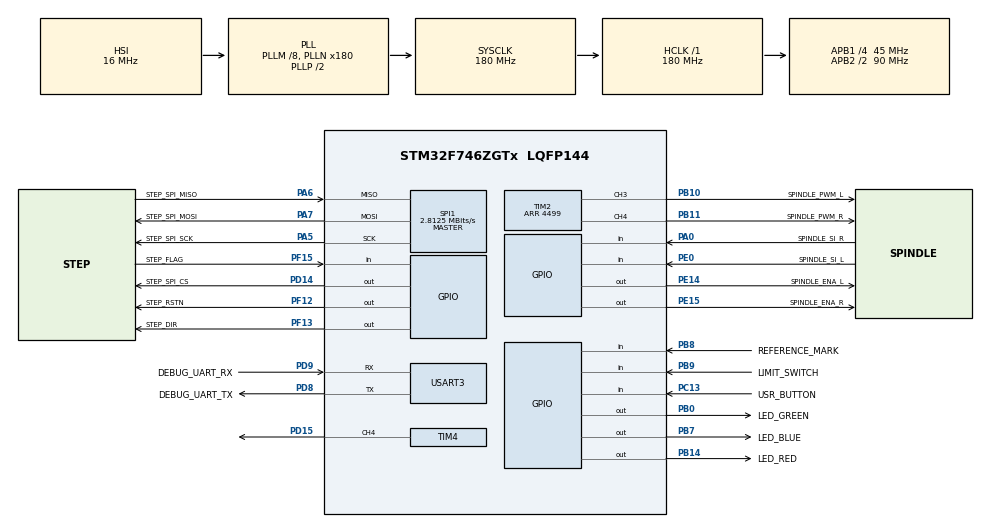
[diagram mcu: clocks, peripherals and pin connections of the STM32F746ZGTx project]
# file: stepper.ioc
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CORTEX_M7.AccessPermission_Spec=MPU_REGION_PRIV_RO_URO
CORTEX_M7.BaseAddress_S-Cortex_Memory_Protection_Unit_Region1_Settings_S=0x60000000
CORTEX_M7.DisableExec_S-Cortex_Memory_Protection_Unit_Region1_Settings_S=MPU_INSTRUCTION_ACCESS_DISABLE
CORTEX_M7.DisableExec_Spec=MPU_INSTRUCTION_ACCESS_ENABLE
CORTEX_M7.Enable_S-Cortex_Memory_Protection_Unit_Region1_Settings_S=MPU_REGION_ENABLE
CORTEX_M7.Enable_S-Cortex_Memory_Protection_Unit_Region2_Settings_S=__NULL
CORTEX_M7.IsShareable_S-Cortex_Memory_Protection_Unit_Region1_Settings_S=MPU_ACCESS_SHAREABLE
CORTEX_M7.IsShareable_Spec=MPU_ACCESS_NOT_SHAREABLE
CORTEX_M7.Size_S-Cortex_Memory_Protection_Unit_Region1_Settings_S=MPU_REGION_SIZE_4GB
CORTEX_M7.Size_Spec=MPU_REGION_SIZE_16KB
CORTEX_M7.SubRegionDisable_S-Cortex_Memory_Protection_Unit_Region1_Settings_S=0x87
CORTEX_M7.SubRegionDisable_Spec=0x0
CORTEX_M7.default_mode_Activation=1
Mcu.Family=STM32F7
Mcu.Name=STM32F746ZGTx
Mcu.Package=LQFP144
NVIC.PriorityGroup=NVIC_PRIORITYGROUP_4
NVIC.SPI1_IRQn=true\:5\:0\:true\:false\:true\:true\:true\:true
NVIC.TIM1_CC_IRQn=true\:5\:0\:true\:false\:true\:true\:true\:true
NVIC.TIM1_UP_TIM10_IRQn=true\:5\:0\:true\:false\:true\:true\:true\:true
NVIC.TIM4_IRQn=true\:0\:0\:false\:false\:true\:true\:true\:true
NVIC.USART3_IRQn=true\:10\:0\:true\:false\:true\:true\:true\:true
PA0/WKUP.GPIO_Label=SPINDLE_SI_R
PA0/WKUP.Signal=GPIO_Input
PA5.GPIO_Label=STEP_SPI_SCK
PA5.Mode=Full_Duplex_Master
PA5.Signal=SPI1_SCK
PA6.GPIO_Label=STEP_SPI_MISO
PA6.Mode=Full_Duplex_Master
PA6.Signal=SPI1_MISO
PA7.GPIO_Label=STEP_SPI_MOSI
PA7.Mode=Full_Duplex_Master
PA7.Signal=SPI1_MOSI
PB0.GPIO_Label=LED_GREEN
PB0.Signal=GPIO_Output
PB10.GPIO_Label=SPINDLE_PWM_L
PB10.Signal=S_TIM2_CH3
PB11.GPIO_Label=SPINDLE_PWM_R
PB11.Signal=S_TIM2_CH4
PB14.GPIO_Label=LED_RED
PB14.Signal=GPIO_Output
PB7.GPIO_Label=LED_BLUE
PB7.Signal=GPIO_Output
PB8.GPIO_Label=REFERENCE_MARK
PB8.Signal=GPIO_Input
PB9.GPIO_Label=LIMIT_SWITCH
PB9.Signal=GPIO_Input
PC13.GPIO_Label=USR_BUTTON
PC13.Signal=GPIO_Input
PD14.GPIO_Label=STEP_SPI_CS
PD14.GPIO_Speed=GPIO_SPEED_FREQ_VERY_HIGH
PD14.PinState=GPIO_PIN_SET
PD14.Signal=GPIO_Output
PD15.Signal=S_TIM4_CH4
PD8.GPIO_Label=DEBUG_UART_TX
PD8.Mode=Asynchronous
PD8.Signal=USART3_TX
PD9.GPIO_Label=DEBUG_UART_RX
PD9.Mode=Asynchronous
PD9.Signal=USART3_RX
PE0.GPIO_Label=SPINDLE_SI_L
PE0.Signal=GPIO_Input
PE14.GPIO_Label=SPINDLE_ENA_L
PE14.Signal=GPIO_Output
PE15.GPIO_Label=SPINDLE_ENA_R
PE15.Signal=GPIO_Output
PF12.GPIO_Label=STEP_RSTN
PF12.Signal=GPIO_Output
PF13.GPIO_Label=STEP_DIR
PF13.GPIO_Speed=GPIO_SPEED_FREQ_VERY_HIGH
PF13.Signal=GPIO_Output
PF15.GPIO_Label=STEP_FLAG
PF15.GPIO_PuPd=GPIO_PULLUP
PF15.Signal=GPIO_Input
ProjectManager.HeapSize=0x2000
ProjectManager.StackSize=0x800
ProjectManager.TargetToolchain=STM32CubeIDE
RCC.AHBFreq_Value=180000000
RCC.APB1CLKDivider=RCC_HCLK_DIV4
RCC.APB1Freq_Value=45000000
RCC.APB1TimFreq_Value=90000000
RCC.APB2CLKDivider=RCC_HCLK_DIV2
RCC.APB2Freq_Value=90000000
RCC.APB2TimFreq_Value=180000000
RCC.CortexFreq_Value=180000000
RCC.HCLKFreq_Value=180000000
RCC.HSE_VALUE=25000000
RCC.HSI_VALUE=16000000
RCC.LSE_VALUE=32768
RCC.PLLM=8
RCC.PLLN=180
RCC.SYSCLKFreq_VALUE=180000000
RCC.SYSCLKSource=RCC_SYSCLKSOURCE_PLLCLK
RCC.USBFreq_Value=180000000
RCC.VCOOutputFreq_Value=360000000
SH.S_TIM2_CH3.0=TIM2_CH3,PWM Generation3 CH3
SH.S_TIM2_CH4.0=TIM2_CH4,PWM Generation4 CH4
SH.S_TIM4_CH4.0=TIM4_CH4,PWM Generation4 CH4
SPI1.BaudRatePrescaler=SPI_BAUDRATEPRESCALER_32
SPI1.CLKPhase=SPI_PHASE_2EDGE
SPI1.CLKPolarity=SPI_POLARITY_HIGH
SPI1.CalculateBaudRate=2.8125 MBits/s
SPI1.DataSize=SPI_DATASIZE_8BIT
SPI1.Direction=SPI_DIRECTION_2LINES
SPI1.Mode=SPI_MODE_MASTER
SPI1.VirtualType=VM_MASTER
TIM1.Channel-Output\ Compare1\ No\ Output=TIM_CHANNEL_1
TIM1.CounterMode=TIM_COUNTERMODE_UP
TIM1.OC1Preload=DISABLE
TIM1.OCMode_1=TIM_OCMODE_TIMING
TIM1.Period=8191
TIM1.TIM_MasterOutputTrigger=TIM_TRGO_ENABLE
TIM1.TIM_MasterOutputTrigger2=TIM_TRGO2_ENABLE
TIM2.Channel-PWM\ Generation3\ CH3=TIM_CHANNEL_3
TIM2.Channel-PWM\ Generation4\ CH4=TIM_CHANNEL_4
TIM2.Period=4499
TIM4.AutoReloadPreload=TIM_AUTORELOAD_PRELOAD_ENABLE
TIM4.Channel-PWM\ Generation4\ CH4=TIM_CHANNEL_4
TIM4.ClockDivision=TIM_CLOCKDIVISION_DIV1
TIM4.Period=62
TIM4.Prescaler=127
TIM4.Pulse-PWM\ Generation4\ CH4=31
TIM4.TIM_MasterOutputTrigger=TIM_TRGO_UPDATE
USART3.VirtualMode-Asynchronous=VM_ASYNC
VP_TIM1_VS_ClockSourceITR.Mode=TriggerSource_ITR3
VP_TIM1_VS_ControllerModeClock.Mode=Clock Mode
VP_TIM1_VS_OPM.Mode=OPM_bit
VP_TIM1_VS_no_output1.Mode=Output Compare1 No Output
VP_TIM2_VS_ClockSourceINT.Mode=Internal
VP_TIM4_VS_ClockSourceINT.Mode=Internal
board=custom

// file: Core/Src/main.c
/* USER CODE BEGIN Header */
/**
  ******************************************************************************
  * @file           : main.c
  * @brief          : Main program body
  ******************************************************************************
  * @attention
  *
  * Copyright (c) 2024 STMicroelectronics.
  * All rights reserved.
  *
  * This software is licensed under terms that can be found in the LICENSE file
  * in the root directory of this software component.
  * If no LICENSE file comes with this software, it is provided AS-IS.
  *
  ******************************************************************************
  */
/* USER CODE END Header */
#include "main.h"

/* USER CODE BEGIN Includes */
/* Standard C headers */
#include <stdio.h>
#include <assert.h>
#include <stdbool.h>

/* FreeRTOS headers */
#include "FreeRTOS.h"
#include "task.h"
// #include "semphr.h"

#include "FreeRTOSConfig.h"
#include "Spindle_implementation/my_spindle.h"
#include "Console_implementation/my_console.h"
#include "Stepper_implementation/my_stepper.h"
#include "LibL6474.h"
#include "LibL6474Config.h"
/* USER CODE END Includes */

SPI_HandleTypeDef hspi1;

TIM_HandleTypeDef htim1;
TIM_HandleTypeDef htim2;
TIM_HandleTypeDef htim4;

UART_HandleTypeDef huart3;

/* USER CODE BEGIN PV */
// Globale Variablen für asynchrone Bewegung
int asyncStepsRemaining = 0;
L6474_Handle_t asyncStepperHandle = NULL;
void (*asyncDoneCallback)(L6474_Handle_t) = NULL;

// globale Variable fuer my_console.c und my_stepper.c
L6474_BaseParameter_t base_parameter;

//Globale Flag für LED-Steuerung
int blueLedBlinking = 0;

// bool variable to show errors
bool error_variable = false;

/* USER CODE END PV */

void SystemClock_Config(void);
static void MPU_Config(void);
static void MX_GPIO_Init(void);
static void MX_SPI1_Init(void);
static void MX_TIM4_Init(void);
static void MX_TIM1_Init(void);
static void MX_USART3_UART_Init(void);
static void MX_TIM2_Init(void);
/* USER CODE BEGIN PFP */
extern void initialise_stdlib_abstraction( void );

void vApplicationMallocFailedHook( void )
{
  taskDISABLE_INTERRUPTS();
  __asm volatile( "bkpt #0" );
  for (;;) {;}
}
/*-----------------------------------------------------------*/

void vApplicationStackOverflowHook( TaskHandle_t pxTask, char *pcTaskName )
{
  ( void ) pcTaskName;
  ( void ) pxTask;

  taskDISABLE_INTERRUPTS();
  __asm volatile( "bkpt #0" );
  for (;;) {;}
}

/* USER CODE END PFP */

/* USER CODE BEGIN 0 */
// --------------------------------------------------------------------------------------------------------------------
/*
static int CapabilityFunc( int argc, char** argv, void* ctx )
// --------------------------------------------------------------------------------------------------------------------
{
	(void)argc;
	(void)argv;
	(void)ctx;
	printf("%d,%d,%d,%d,%d,%d,%d,%d,%d,%d,%d,%d,%d,%d,%d,%d,%d,%d,%d,%d,%d,%d,%d,%d,%d,%d,%d\r\nOK",
	    0, // has spindle
		0, // has spindle status
		0, // has stepper
		0, // has stepper move relative
		0, // has stepper move speed
		0, // has stepper move async
		0, // has stepper status
		0, // has stepper refrun
		0, // has stepper refrun timeout
		0, // has stepper refrun skip
		0, // has stepper refrun stay enabled
		0, // has stepper reset
		0, // has stepper position
		0, // has stepper config
		0, // has stepper config torque
		0, // has stepper config throvercurr
		0, // has stepper config powerena
		0, // has stepper config stepmode
		0, // has stepper config timeoff
		0, // has stepper config timeon
		0, // has stepper config timefast
		0, // has stepper config mmperturn
		0, // has stepper config posmax
		0, // has stepper config posmin
		0, // has stepper config posref
		0, // has stepper config stepsperturn
		0  // has stepper cancel
	);
	return 0;
}
*/

/* USER CODE END 0 */

int main(void)
{

  /* MPU Configuration--------------------------------------------------------*/
  MPU_Config();

  /* MCU Configuration--------------------------------------------------------*/

  /* Reset of all peripherals, Initializes the Flash interface and the Systick. */
  HAL_Init();

  /* Configure the system clock */
  SystemClock_Config();

  /* Initialize all configured peripherals */
  MX_GPIO_Init();
  MX_SPI1_Init();
  MX_TIM4_Init();
  MX_TIM1_Init();
  MX_USART3_UART_Init();
  MX_TIM2_Init();
  /* USER CODE BEGIN 2 */
  L6474_SetBaseParameter(&base_parameter);

  initialise_stdlib_abstraction();
  MyConsole_Init();
  xTaskCreate(vLedBlinkTask, "LED_Task", configMINIMAL_STACK_SIZE, NULL, tskIDLE_PRIORITY + 4, NULL);

  // everything before scheduler
  vTaskStartScheduler();
  /* USER CODE END 2 */

  /* Infinite loop */
  while (1)
  {

  }
}

void SystemClock_Config(void)
{
  RCC_OscInitTypeDef RCC_OscInitStruct = {0};
  RCC_ClkInitTypeDef RCC_ClkInitStruct = {0};

  /** Configure the main internal regulator output voltage
  */
  __HAL_RCC_PWR_CLK_ENABLE();
  __HAL_PWR_VOLTAGESCALING_CONFIG(PWR_REGULATOR_VOLTAGE_SCALE1);

  /** Initializes the RCC Oscillators according to the specified parameters
  * in the RCC_OscInitTypeDef structure.
  */
  RCC_OscInitStruct.OscillatorType = RCC_OSCILLATORTYPE_HSI;
  RCC_OscInitStruct.HSIState = RCC_HSI_ON;
  RCC_OscInitStruct.HSICalibrationValue = RCC_HSICALIBRATION_DEFAULT;
  RCC_OscInitStruct.PLL.PLLState = RCC_PLL_ON;
  RCC_OscInitStruct.PLL.PLLSource = RCC_PLLSOURCE_HSI;
  RCC_OscInitStruct.PLL.PLLM = 8;
  RCC_OscInitStruct.PLL.PLLN = 180;
  RCC_OscInitStruct.PLL.PLLP = RCC_PLLP_DIV2;
  RCC_OscInitStruct.PLL.PLLQ = 2;
  if (HAL_RCC_OscConfig(&RCC_OscInitStruct) != HAL_OK)
  {
    Error_Handler();
  }

  /** Initializes the CPU, AHB and APB buses clocks
  */
  RCC_ClkInitStruct.ClockType = RCC_CLOCKTYPE_HCLK|RCC_CLOCKTYPE_SYSCLK
                              |RCC_CLOCKTYPE_PCLK1|RCC_CLOCKTYPE_PCLK2;
  RCC_ClkInitStruct.SYSCLKSource = RCC_SYSCLKSOURCE_PLLCLK;
  RCC_ClkInitStruct.AHBCLKDivider = RCC_SYSCLK_DIV1;
  RCC_ClkInitStruct.APB1CLKDivider = RCC_HCLK_DIV4;
  RCC_ClkInitStruct.APB2CLKDivider = RCC_HCLK_DIV2;

  if (HAL_RCC_ClockConfig(&RCC_ClkInitStruct, FLASH_LATENCY_5) != HAL_OK)
  {
    Error_Handler();
  }
}

static void MX_SPI1_Init(void)
{

  /* SPI1 parameter configuration*/
  hspi1.Instance = SPI1;
  hspi1.Init.Mode = SPI_MODE_MASTER;
  hspi1.Init.Direction = SPI_DIRECTION_2LINES;
  hspi1.Init.DataSize = SPI_DATASIZE_8BIT;
  hspi1.Init.CLKPolarity = SPI_POLARITY_HIGH;
  hspi1.Init.CLKPhase = SPI_PHASE_2EDGE;
  hspi1.Init.NSS = SPI_NSS_SOFT;
  hspi1.Init.BaudRatePrescaler = SPI_BAUDRATEPRESCALER_32;
  hspi1.Init.FirstBit = SPI_FIRSTBIT_MSB;
  hspi1.Init.TIMode = SPI_TIMODE_DISABLE;
  hspi1.Init.CRCCalculation = SPI_CRCCALCULATION_DISABLE;
  hspi1.Init.CRCPolynomial = 7;
  hspi1.Init.CRCLength = SPI_CRC_LENGTH_DATASIZE;
  hspi1.Init.NSSPMode = SPI_NSS_PULSE_DISABLE;
  if (HAL_SPI_Init(&hspi1) != HAL_OK)
  {
    Error_Handler();
  }

}

static void MX_TIM1_Init(void)
{

  TIM_SlaveConfigTypeDef sSlaveConfig = {0};
  TIM_MasterConfigTypeDef sMasterConfig = {0};
  TIM_OC_InitTypeDef sConfigOC = {0};
  TIM_BreakDeadTimeConfigTypeDef sBreakDeadTimeConfig = {0};

  htim1.Instance = TIM1;
  htim1.Init.Prescaler = 0;
  htim1.Init.CounterMode = TIM_COUNTERMODE_UP;
  htim1.Init.Period = 8191;
  htim1.Init.ClockDivision = TIM_CLOCKDIVISION_DIV1;
  htim1.Init.RepetitionCounter = 0;
  htim1.Init.AutoReloadPreload = TIM_AUTORELOAD_PRELOAD_DISABLE;
  if (HAL_TIM_Base_Init(&htim1) != HAL_OK)
  {
    Error_Handler();
  }
  if (HAL_TIM_OC_Init(&htim1) != HAL_OK)
  {
    Error_Handler();
  }
  if (HAL_TIM_OnePulse_Init(&htim1, TIM_OPMODE_SINGLE) != HAL_OK)
  {
    Error_Handler();
  }
  sSlaveConfig.SlaveMode = TIM_SLAVEMODE_EXTERNAL1;
  sSlaveConfig.InputTrigger = TIM_TS_ITR3;
  if (HAL_TIM_SlaveConfigSynchro(&htim1, &sSlaveConfig) != HAL_OK)
  {
    Error_Handler();
  }
  sMasterConfig.MasterOutputTrigger = TIM_TRGO_ENABLE;
  sMasterConfig.MasterOutputTrigger2 = TIM_TRGO2_ENABLE;
  sMasterConfig.MasterSlaveMode = TIM_MASTERSLAVEMODE_DISABLE;
  if (HAL_TIMEx_MasterConfigSynchronization(&htim1, &sMasterConfig) != HAL_OK)
  {
    Error_Handler();
  }
  sConfigOC.OCMode = TIM_OCMODE_TIMING;
  sConfigOC.Pulse = 0;
  sConfigOC.OCPolarity = TIM_OCPOLARITY_HIGH;
  sConfigOC.OCNPolarity = TIM_OCNPOLARITY_HIGH;
  sConfigOC.OCFastMode = TIM_OCFAST_DISABLE;
  sConfigOC.OCIdleState = TIM_OCIDLESTATE_RESET;
  sConfigOC.OCNIdleState = TIM_OCNIDLESTATE_RESET;
  if (HAL_TIM_OC_ConfigChannel(&htim1, &sConfigOC, TIM_CHANNEL_1) != HAL_OK)
  {
    Error_Handler();
  }
  sBreakDeadTimeConfig.OffStateRunMode = TIM_OSSR_DISABLE;
  sBreakDeadTimeConfig.OffStateIDLEMode = TIM_OSSI_DISABLE;
  sBreakDeadTimeConfig.LockLevel = TIM_LOCKLEVEL_OFF;
  sBreakDeadTimeConfig.DeadTime = 0;
  sBreakDeadTimeConfig.BreakState = TIM_BREAK_DISABLE;
  sBreakDeadTimeConfig.BreakPolarity = TIM_BREAKPOLARITY_HIGH;
  sBreakDeadTimeConfig.BreakFilter = 0;
  sBreakDeadTimeConfig.Break2State = TIM_BREAK2_DISABLE;
  sBreakDeadTimeConfig.Break2Polarity = TIM_BREAK2POLARITY_HIGH;
  sBreakDeadTimeConfig.Break2Filter = 0;
  sBreakDeadTimeConfig.AutomaticOutput = TIM_AUTOMATICOUTPUT_DISABLE;
  if (HAL_TIMEx_ConfigBreakDeadTime(&htim1, &sBreakDeadTimeConfig) != HAL_OK)
  {
    Error_Handler();
  }

}

static void MX_TIM2_Init(void)
{

  TIM_ClockConfigTypeDef sClockSourceConfig = {0};
  TIM_MasterConfigTypeDef sMasterConfig = {0};
  TIM_OC_InitTypeDef sConfigOC = {0};

  htim2.Instance = TIM2;
  htim2.Init.Prescaler = 0;
  htim2.Init.CounterMode = TIM_COUNTERMODE_UP;
  htim2.Init.Period = 4499;
  htim2.Init.ClockDivision = TIM_CLOCKDIVISION_DIV1;
  htim2.Init.AutoReloadPreload = TIM_AUTORELOAD_PRELOAD_DISABLE;
  if (HAL_TIM_Base_Init(&htim2) != HAL_OK)
  {
    Error_Handler();
  }
  sClockSourceConfig.ClockSource = TIM_CLOCKSOURCE_INTERNAL;
  if (HAL_TIM_ConfigClockSource(&htim2, &sClockSourceConfig) != HAL_OK)
  {
    Error_Handler();
  }
  if (HAL_TIM_PWM_Init(&htim2) != HAL_OK)
  {
    Error_Handler();
  }
  sMasterConfig.MasterOutputTrigger = TIM_TRGO_RESET;
  sMasterConfig.MasterSlaveMode = TIM_MASTERSLAVEMODE_DISABLE;
  if (HAL_TIMEx_MasterConfigSynchronization(&htim2, &sMasterConfig) != HAL_OK)
  {
    Error_Handler();
  }
  sConfigOC.OCMode = TIM_OCMODE_PWM1;
  sConfigOC.Pulse = 0;
  sConfigOC.OCPolarity = TIM_OCPOLARITY_HIGH;
  sConfigOC.OCFastMode = TIM_OCFAST_DISABLE;
  if (HAL_TIM_PWM_ConfigChannel(&htim2, &sConfigOC, TIM_CHANNEL_3) != HAL_OK)
  {
    Error_Handler();
  }
  if (HAL_TIM_PWM_ConfigChannel(&htim2, &sConfigOC, TIM_CHANNEL_4) != HAL_OK)
  {
    Error_Handler();
  }
  HAL_TIM_MspPostInit(&htim2);

}

static void MX_TIM4_Init(void)
{

  TIM_ClockConfigTypeDef sClockSourceConfig = {0};
  TIM_MasterConfigTypeDef sMasterConfig = {0};
  TIM_OC_InitTypeDef sConfigOC = {0};

  htim4.Instance = TIM4;
  htim4.Init.Prescaler = 127;
  htim4.Init.CounterMode = TIM_COUNTERMODE_UP;
  htim4.Init.Period = 62;
  htim4.Init.ClockDivision = TIM_CLOCKDIVISION_DIV1;
  htim4.Init.AutoReloadPreload = TIM_AUTORELOAD_PRELOAD_ENABLE;
  if (HAL_TIM_Base_Init(&htim4) != HAL_OK)
  {
    Error_Handler();
  }
  sClockSourceConfig.ClockSource = TIM_CLOCKSOURCE_INTERNAL;
  if (HAL_TIM_ConfigClockSource(&htim4, &sClockSourceConfig) != HAL_OK)
  {
    Error_Handler();
  }
  if (HAL_TIM_PWM_Init(&htim4) != HAL_OK)
  {
    Error_Handler();
  }
  sMasterConfig.MasterOutputTrigger = TIM_TRGO_UPDATE;
  sMasterConfig.MasterSlaveMode = TIM_MASTERSLAVEMODE_DISABLE;
  if (HAL_TIMEx_MasterConfigSynchronization(&htim4, &sMasterConfig) != HAL_OK)
  {
    Error_Handler();
  }
  sConfigOC.OCMode = TIM_OCMODE_PWM1;
  sConfigOC.Pulse = 31;
  sConfigOC.OCPolarity = TIM_OCPOLARITY_HIGH;
  sConfigOC.OCFastMode = TIM_OCFAST_DISABLE;
  if (HAL_TIM_PWM_ConfigChannel(&htim4, &sConfigOC, TIM_CHANNEL_4) != HAL_OK)
  {
    Error_Handler();
  }
  HAL_TIM_MspPostInit(&htim4);

}

static void MX_USART3_UART_Init(void)
{

  huart3.Instance = USART3;
  huart3.Init.BaudRate = 115200;
  huart3.Init.WordLength = UART_WORDLENGTH_8B;
  huart3.Init.StopBits = UART_STOPBITS_1;
  huart3.Init.Parity = UART_PARITY_NONE;
  huart3.Init.Mode = UART_MODE_TX_RX;
  huart3.Init.HwFlowCtl = UART_HWCONTROL_NONE;
  huart3.Init.OverSampling = UART_OVERSAMPLING_16;
  huart3.Init.OneBitSampling = UART_ONE_BIT_SAMPLE_DISABLE;
  huart3.AdvancedInit.AdvFeatureInit = UART_ADVFEATURE_NO_INIT;
  if (HAL_UART_Init(&huart3) != HAL_OK)
  {
    Error_Handler();
  }

}

static void MX_GPIO_Init(void)
{
  GPIO_InitTypeDef GPIO_InitStruct = {0};

  /* GPIO Ports Clock Enable */
  __HAL_RCC_GPIOC_CLK_ENABLE();
  __HAL_RCC_GPIOA_CLK_ENABLE();
  __HAL_RCC_GPIOB_CLK_ENABLE();
  __HAL_RCC_GPIOF_CLK_ENABLE();
  __HAL_RCC_GPIOE_CLK_ENABLE();
  __HAL_RCC_GPIOD_CLK_ENABLE();

  /*Configure GPIO pin Output Level */
  HAL_GPIO_WritePin(GPIOB, LED_GREEN_Pin|LED_RED_Pin|LED_BLUE_Pin, GPIO_PIN_RESET);

  /*Configure GPIO pin Output Level */
  HAL_GPIO_WritePin(GPIOF, STEP_RSTN_Pin|STEP_DIR_Pin, GPIO_PIN_RESET);

  /*Configure GPIO pin Output Level */
  HAL_GPIO_WritePin(GPIOE, SPINDLE_ENA_L_Pin|SPINDLE_ENA_R_Pin, GPIO_PIN_RESET);

  /*Configure GPIO pin Output Level */
  HAL_GPIO_WritePin(STEP_SPI_CS_GPIO_Port, STEP_SPI_CS_Pin, GPIO_PIN_SET);

  /*Configure GPIO pin : USR_BUTTON_Pin */
  GPIO_InitStruct.Pin = USR_BUTTON_Pin;
  GPIO_InitStruct.Mode = GPIO_MODE_INPUT;
  GPIO_InitStruct.Pull = GPIO_NOPULL;
  HAL_GPIO_Init(USR_BUTTON_GPIO_Port, &GPIO_InitStruct);

  /*Configure GPIO pin : SPINDLE_SI_R_Pin */
  GPIO_InitStruct.Pin = SPINDLE_SI_R_Pin;
  GPIO_InitStruct.Mode = GPIO_MODE_INPUT;
  GPIO_InitStruct.Pull = GPIO_NOPULL;
  HAL_GPIO_Init(SPINDLE_SI_R_GPIO_Port, &GPIO_InitStruct);

  /*Configure GPIO pins : LED_GREEN_Pin LED_RED_Pin LED_BLUE_Pin */
  GPIO_InitStruct.Pin = LED_GREEN_Pin|LED_RED_Pin|LED_BLUE_Pin;
  GPIO_InitStruct.Mode = GPIO_MODE_OUTPUT_PP;
  GPIO_InitStruct.Pull = GPIO_NOPULL;
  GPIO_InitStruct.Speed = GPIO_SPEED_FREQ_LOW;
  HAL_GPIO_Init(GPIOB, &GPIO_InitStruct);

  /*Configure GPIO pin : STEP_RSTN_Pin */
  GPIO_InitStruct.Pin = STEP_RSTN_Pin;
  GPIO_InitStruct.Mode = GPIO_MODE_OUTPUT_PP;
  GPIO_InitStruct.Pull = GPIO_NOPULL;
  GPIO_InitStruct.Speed = GPIO_SPEED_FREQ_LOW;
  HAL_GPIO_Init(STEP_RSTN_GPIO_Port, &GPIO_InitStruct);

  /*Configure GPIO pin : STEP_DIR_Pin */
  GPIO_InitStruct.Pin = STEP_DIR_Pin;
  GPIO_InitStruct.Mode = GPIO_MODE_OUTPUT_PP;
  GPIO_InitStruct.Pull = GPIO_NOPULL;
  GPIO_InitStruct.Speed = GPIO_SPEED_FREQ_VERY_HIGH;
  HAL_GPIO_Init(STEP_DIR_GPIO_Port, &GPIO_InitStruct);

  /*Configure GPIO pin : STEP_FLAG_Pin */
  GPIO_InitStruct.Pin = STEP_FLAG_Pin;
  GPIO_InitStruct.Mode = GPIO_MODE_INPUT;
  GPIO_InitStruct.Pull = GPIO_PULLUP;
  HAL_GPIO_Init(STEP_FLAG_GPIO_Port, &GPIO_InitStruct);

  /*Configure GPIO pins : SPINDLE_ENA_L_Pin SPINDLE_ENA_R_Pin */
  GPIO_InitStruct.Pin = SPINDLE_ENA_L_Pin|SPINDLE_ENA_R_Pin;
  GPIO_InitStruct.Mode = GPIO_MODE_OUTPUT_PP;
  GPIO_InitStruct.Pull = GPIO_NOPULL;
  GPIO_InitStruct.Speed = GPIO_SPEED_FREQ_LOW;
  HAL_GPIO_Init(GPIOE, &GPIO_InitStruct);

  /*Configure GPIO pin : STEP_SPI_CS_Pin */
  GPIO_InitStruct.Pin = STEP_SPI_CS_Pin;
  GPIO_InitStruct.Mode = GPIO_MODE_OUTPUT_PP;
  GPIO_InitStruct.Pull = GPIO_NOPULL;
  GPIO_InitStruct.Speed = GPIO_SPEED_FREQ_VERY_HIGH;
  HAL_GPIO_Init(STEP_SPI_CS_GPIO_Port, &GPIO_InitStruct);

  /*Configure GPIO pin : REFERENCE_MARK_Pin */
  GPIO_InitStruct.Pin = REFERENCE_MARK_Pin;
  GPIO_InitStruct.Mode = GPIO_MODE_INPUT;
  GPIO_InitStruct.Pull = GPIO_NOPULL;
  HAL_GPIO_Init(REFERENCE_MARK_GPIO_Port, &GPIO_InitStruct);

  /*Configure GPIO pin : LIMIT_SWITCH_Pin */
  GPIO_InitStruct.Pin = LIMIT_SWITCH_Pin;
  GPIO_InitStruct.Mode = GPIO_MODE_IT_FALLING;
  GPIO_InitStruct.Pull = GPIO_NOPULL;
  HAL_GPIO_Init(LIMIT_SWITCH_GPIO_Port, &GPIO_InitStruct);

  /*Configure GPIO pin : SPINDLE_SI_L_Pin */
  GPIO_InitStruct.Pin = SPINDLE_SI_L_Pin;
  GPIO_InitStruct.Mode = GPIO_MODE_INPUT;
  GPIO_InitStruct.Pull = GPIO_NOPULL;
  HAL_GPIO_Init(SPINDLE_SI_L_GPIO_Port, &GPIO_InitStruct);

  /* EXTI interrupt init*/
  HAL_NVIC_SetPriority(EXTI9_5_IRQn, 0, 0);
  HAL_NVIC_EnableIRQ(EXTI9_5_IRQn);

}

/* USER CODE BEGIN 4 */
void vAssertCalled( const char * const pcFileName, unsigned long ulLine )
{
volatile uint32_t ulSetToNonZeroInDebuggerToContinue = 0;

    /* Parameters are not used. */
    ( void ) ulLine;
    ( void ) pcFileName;

    taskENTER_CRITICAL();
    {
        /* You can step out of this function to debug the assertion by using
        the debugger to set ulSetToNonZeroInDebuggerToContinue to a non-zero
        value. */
        while( ulSetToNonZeroInDebuggerToContinue == 0 )
        {
        }
    }
    taskEXIT_CRITICAL();
}

int __stdout_put_char(int ch)
{
	uint8_t val = ch;
	while((huart3.Instance->ISR & UART_FLAG_TXE) == 0);
	huart3.Instance->TDR = val;
	while((huart3.Instance->ISR & UART_FLAG_TC) == 0);
	return 0;
}

int __stdin_get_char(void)
{
	if (huart3.Instance->ISR & UART_FLAG_ORE)
		huart3.Instance->ICR = UART_CLEAR_OREF;

	if (huart3.Instance->ISR & UART_FLAG_NE)
		huart3.Instance->ICR = UART_CLEAR_NEF;

	if (huart3.Instance->ISR & UART_FLAG_FE)
		huart3.Instance->ICR = UART_CLEAR_FEF;

	if ((huart3.Instance->ISR & UART_FLAG_RXNE) == 0) return -1;
	return huart3.Instance->RDR;
}

/* USER CODE END 4 */

 /* MPU Configuration */

void MPU_Config(void)
{
  MPU_Region_InitTypeDef MPU_InitStruct = {0};

  /* Disables the MPU */
  HAL_MPU_Disable();

  /** Initializes and configures the Region and the memory to be protected
  */
  MPU_InitStruct.Enable = MPU_REGION_ENABLE;
  MPU_InitStruct.Number = MPU_REGION_NUMBER0;
  MPU_InitStruct.BaseAddress = 0x0;
  MPU_InitStruct.Size = MPU_REGION_SIZE_16KB;
  MPU_InitStruct.SubRegionDisable = 0x0;
  MPU_InitStruct.TypeExtField = MPU_TEX_LEVEL0;
  MPU_InitStruct.AccessPermission = MPU_REGION_PRIV_RO_URO;
  MPU_InitStruct.DisableExec = MPU_INSTRUCTION_ACCESS_ENABLE;
  MPU_InitStruct.IsShareable = MPU_ACCESS_NOT_SHAREABLE;
  MPU_InitStruct.IsCacheable = MPU_ACCESS_NOT_CACHEABLE;
  MPU_InitStruct.IsBufferable = MPU_ACCESS_NOT_BUFFERABLE;

  HAL_MPU_ConfigRegion(&MPU_InitStruct);

  /** Initializes and configures the Region and the memory to be protected
  */
  MPU_InitStruct.Number = MPU_REGION_NUMBER1;
  MPU_InitStruct.BaseAddress = 0x60000000;
  MPU_InitStruct.Size = MPU_REGION_SIZE_4GB;
  MPU_InitStruct.SubRegionDisable = 0x87;
  MPU_InitStruct.AccessPermission = MPU_REGION_NO_ACCESS;
  MPU_InitStruct.DisableExec = MPU_INSTRUCTION_ACCESS_DISABLE;
  MPU_InitStruct.IsShareable = MPU_ACCESS_SHAREABLE;

  HAL_MPU_ConfigRegion(&MPU_InitStruct);
  /* Enables the MPU */
  HAL_MPU_Enable(MPU_PRIVILEGED_DEFAULT);

}

void Error_Handler(void)
{
  __disable_irq();
  while (1)
  {
  }
}

#ifdef  USE_FULL_ASSERT
/**
  * @brief  Reports the name of the source file and the source line number
  *         where the assert_param error has occurred.
  * @param  file: pointer to the source file name
  * @param  line: assert_param error line source number
  * @retval None
  */
void assert_failed(uint8_t *file, uint32_t line)
{
  /* USER CODE BEGIN 6 */
	portENTER_CRITICAL();

	printf("HAL_ASSERT: %s:::%u\r\n", (char*)file, (unsigned int)line);
	assert(0);

	portEXIT_CRITICAL();
  /* USER CODE END 6 */
}
#endif /* USE_FULL_ASSERT */
